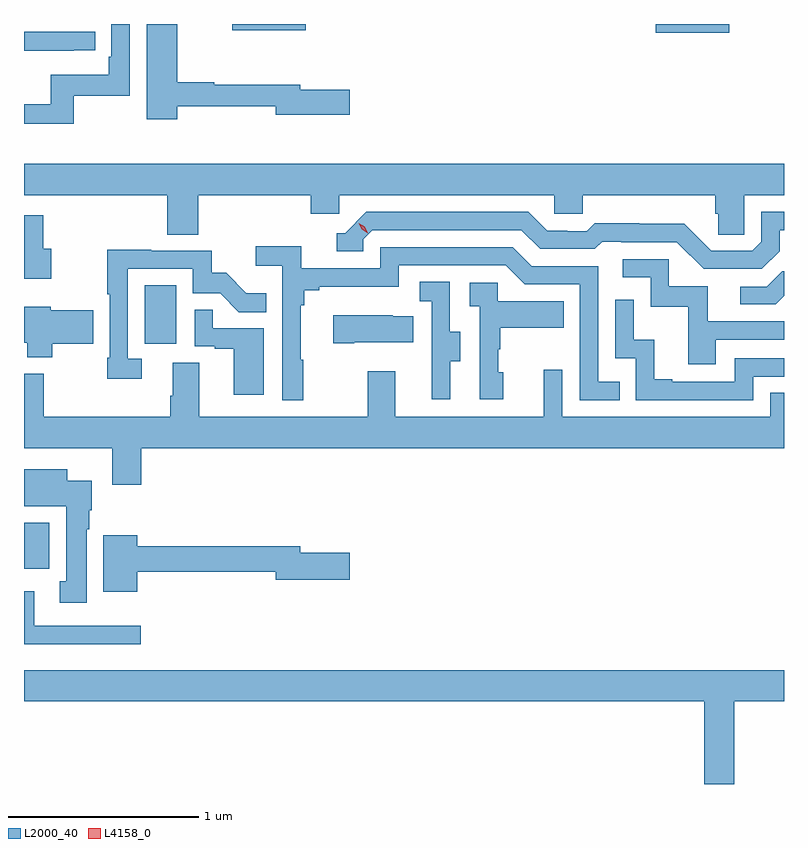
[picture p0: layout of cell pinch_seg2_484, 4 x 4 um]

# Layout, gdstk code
import gdstk
lib = gdstk.Library(unit=1e-6, precision=1e-09)
def R(c, l, rs):  # rectangles x0, y0, x1, y1
    for r in rs: c.add(gdstk.rectangle(r[:2], r[2:], *l))
def P(c, l, *ps):  # polygons
    for p in ps: c.add(gdstk.Polygon(p, *l))
L2000_40 = (2000, 40)
L4158_0 = (4158, 0)

pinch_seg2_484 = lib.new_cell('pinch_seg2_484')
R(pinch_seg2_484, L2000_40, [(972.542,595.052,972.676,595.294), (973.178,596.238,973.342,596.545), (975.866,597.875,976.255,597.92), (973.638,597.887,974.026,597.92)])
P(pinch_seg2_484, L2000_40, [(973.348,597.486),(973.868,597.486),(973.868,597.443),(974.257,597.443),(974.257,597.573),(973.996,597.573),(973.996,597.599),(973.544,597.599),(973.544,597.614),(973.348,597.614),(973.348,597.92),(973.187,597.92),(973.187,597.42),(973.348,597.42)],
  [(972.805,597.543),(973.098,597.543),(973.098,597.92),(973.002,597.92),(973.002,597.748),(972.989,597.748),(972.989,597.652),(972.684,597.652),(972.684,597.497),(972.542,597.497),(972.542,597.396),(972.805,597.396)],
  [(972.803,597.783),(972.916,597.783),(972.916,597.879),(972.542,597.879),(972.542,597.778),(972.803,597.778)],
  [(973.46,597.02),(974.051,597.02),(974.051,596.922),(974.202,596.922),(974.202,597.02),(975.333,597.02),(975.333,596.922),(975.483,596.922),(975.483,597.02),(976.181,597.02),(976.181,596.922),(976.195,596.922),(976.195,596.812),(976.332,596.812),(976.332,597.02),(976.542,597.02),(976.542,597.184),(972.542,597.184),(972.542,597.02),(973.295,597.02),(973.295,596.812),(973.46,596.812)],
  [(976.519,596.725),(976.519,596.835),(976.542,596.835),(976.542,596.931),(976.422,596.931),(976.422,596.775),(976.374,596.727),(976.158,596.727),(976.016,596.869),(975.78,596.869),(975.78,596.872),(975.547,596.872),(975.505,596.829),(975.402,596.829),(975.402,596.832),(975.295,596.832),(975.196,596.931),(974.343,596.931),(974.232,596.82),(974.189,596.82),(974.189,596.724),(974.328,596.724),(974.328,596.787),(974.376,596.835),(975.159,596.835),(975.258,596.736),(975.547,596.736),(975.586,596.775),(975.685,596.775),(975.685,596.772),(975.978,596.772),(976.119,596.631),(976.425,596.631)],
  [(972.685,596.737),(972.643,596.737),(972.643,596.914),(972.542,596.914),(972.542,596.579),(972.685,596.579)],
  [(974.011,596.153),(973.999,596.153),(973.999,596.441),(974.018,596.441),(974.018,596.518),(974.095,596.518),(974.095,596.537),(974.514,596.537),(974.514,596.649),(975.078,596.649),(975.177,596.55),(975.468,596.55),(975.468,595.941),(975.677,595.941),(975.677,596.037),(975.564,596.037),(975.564,596.646),(975.214,596.646),(975.115,596.745),(974.418,596.745),(974.418,596.634),(974,596.634),(974,596.75),(973.761,596.75),(973.761,596.648),(973.902,596.648),(973.902,595.941),(974.011,595.941)],
  [(973.162,596.157),(973.089,596.157),(973.089,596.631),(973.431,596.631),(973.431,596.502),(973.575,596.502),(973.673,596.404),(973.817,596.404),(973.817,596.503),(973.713,596.503),(973.606,596.61),(973.53,596.61),(973.53,596.727),(973.211,596.727),(973.211,596.732),(972.981,596.732),(972.981,596.497),(972.993,596.497),(972.993,596.164),(972.981,596.164),(972.981,596.052),(973.162,596.052)],
  [(976.183,596.259),(976.542,596.259),(976.542,596.355),(976.141,596.355),(976.141,596.541),(975.936,596.541),(975.936,596.682),(975.693,596.682),(975.693,596.586),(975.84,596.586),(975.84,596.433),(976.039,596.433),(976.039,596.13),(976.183,596.13)],
  [(976.542,596.489),(976.542,596.618),(976.532,596.618),(976.452,596.538),(976.311,596.538),(976.311,596.445),(976.498,596.445)],
  [(974.785,596.146),(974.839,596.146),(974.839,596.301),(974.784,596.301),(974.784,596.564),(974.625,596.564),(974.625,596.461),(974.688,596.461),(974.688,596.157),(974.687,596.157),(974.687,595.944),(974.785,595.944)],
  [(975.064,596.088),(975.039,596.088),(975.039,596.207),(975.049,596.207),(975.049,596.321),(975.383,596.321),(975.383,596.461),(975.036,596.461),(975.036,596.559),(974.889,596.559),(974.889,596.435),(974.94,596.435),(974.94,595.944),(975.064,595.944)],
  [(976.38,596.064),(976.542,596.064),(976.542,596.16),(976.284,596.16),(976.284,596.037),(975.955,596.037),(975.955,596.05),(975.86,596.05),(975.86,596.258),(975.75,596.258),(975.75,596.47),(975.654,596.47),(975.654,596.16),(975.762,596.16),(975.762,595.941),(976.38,595.941)],
  [(972.69,596.236),(972.907,596.236),(972.907,596.414),(972.682,596.414),(972.682,596.431),(972.542,596.431),(972.542,596.243),(972.56,596.243),(972.56,596.165),(972.69,596.165)],
  [(973.804,596.319),(973.535,596.319),(973.535,596.417),(973.44,596.417),(973.44,596.223),(973.547,596.223),(973.547,596.211),(973.646,596.211),(973.646,595.968),(973.804,595.968)],
  [(974.281,596.246),(974.591,596.246),(974.591,596.383),(974.483,596.383),(974.483,596.386),(974.169,596.386),(974.169,596.239),(974.281,596.239)],
  [(973.16,595.688),(976.542,595.688),(976.542,595.979),(976.47,595.979),(976.47,595.852),(975.375,595.852),(975.375,596.101),(975.278,596.101),(975.278,595.852),(974.497,595.852),(974.497,596.092),(974.35,596.092),(974.35,595.852),(973.465,595.852),(973.465,596.138),(973.325,596.138),(973.325,595.964),(973.313,595.964),(973.313,595.852),(972.646,595.852),(972.646,596.08),(972.542,596.08),(972.542,595.688),(973.007,595.688),(973.007,595.494),(973.16,595.494)],
  [(972.871,595.262),(972.886,595.262),(972.886,595.362),(972.898,595.362),(972.898,595.516),(972.769,595.516),(972.769,595.576),(972.542,595.576),(972.542,595.382),(972.764,595.382),(972.764,594.986),(972.731,594.986),(972.731,594.873),(972.871,594.873)],
  [(973.138,595.036),(973.868,595.036),(973.868,594.994),(974.257,594.994),(974.257,595.136),(973.996,595.136),(973.996,595.172),(973.138,595.172),(973.138,595.228),(972.959,595.228),(972.959,594.932),(973.138,594.932)],
  [(973.156,594.753),(972.595,594.753),(972.595,594.934),(972.542,594.934),(972.542,594.656),(973.156,594.656)],
  [(976.281,594.356),(976.542,594.356),(976.542,594.52),(972.542,594.52),(972.542,594.356),(976.121,594.356),(976.121,593.92),(976.281,593.92)])
P(pinch_seg2_484, L4158_0, [(974.351,596.82),(974.32,596.839),(974.304,596.872),(974.304,596.872),(974.304,596.872),(974.335,596.853),(974.351,596.82),(974.351,596.82)])

lib.write_gds('pinch_seg2_484.gds')
